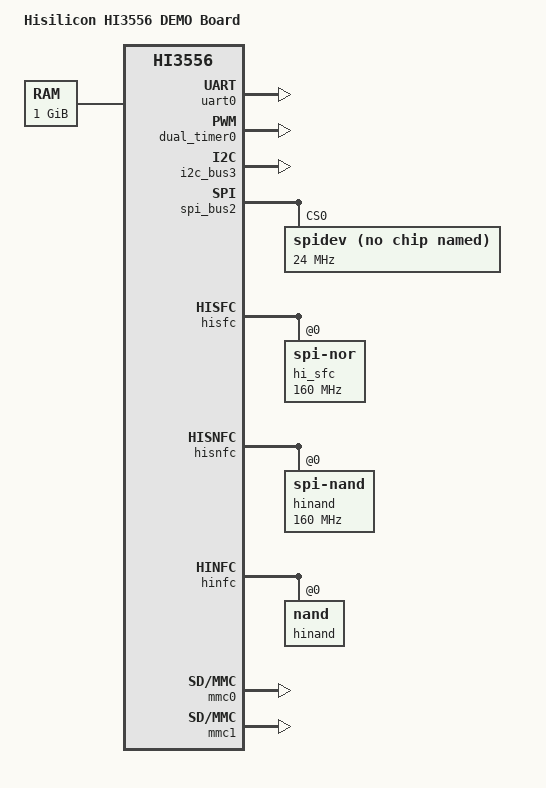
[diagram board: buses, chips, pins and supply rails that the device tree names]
/*
 * Copyright (c) 2013-2014 Linaro Ltd.
 * Copyright (c) 2015 HiSilicon Technologies Co., Ltd.
 *
 * This program is free software; you can redistribute  it and/or modify it
 * under  the terms of  the GNU General  Public License as published by the
 * Free Software Foundation;  either version 2 of the  License, or (at your
 * option) any later version.
 *
 * This program is distributed in the hope that it will be useful,
 * but WITHOUT ANY WARRANTY; without even the implied warranty of
 * MERCHANTABILITY or FITNESS FOR A PARTICULAR PURPOSE. See the
 * GNU General Public License for more details.
 *
 * You should have received a copy of the GNU General Public License
 * along with this program.  If not, see <http://www.gnu.org/licenses/>.
 *
 */

/dts-v1/;
#include "hisi-hi3556.dtsi"

/ {
	model = "Hisilicon HI3556 DEMO Board";
	compatible = "hisilicon,hi3556";

	cpus {
		#address-cells = <1>;
		#size-cells = <0>;
		enable-method = "hisilicon,hi3556-smp";

		cpu@0 {
			compatible = "arm,cortex-a7";
			device_type = "cpu";
			clock-frequency = <HI3556_FIXED_792M>;
			reg = <0>;
			cci-control-port = <&cci_control0>;
		};

		/*cpu@100 {
			compatible = "arm,cortex-a17";
			device_type = "cpu";
			clock-frequency = <HI3556_FIXED_1000M>;
			reg = <0x100>;
			cci-control-port = <&cci_control1>;
		};*/
	};

	memory {
		device_type = "memory";
		reg = <0x80000000 0x40000000>;
	};
};

&uart0 {
	status = "okay";
};

&dual_timer0 {
	status = "okay";
};

&i2c_bus0 {
	status = "disabled";
};

&i2c_bus1 {
	status = "disabled";
};

&i2c_bus2 {
	status = "disabled";
};

&i2c_bus3 {
	status = "okay";
};

&spi_bus0 {
	status = "disabled";

	spidev@0 {
		compatible = "rohm,dh2228fv";
		reg = <0>;
		pl022,interface = <0>;
		pl022,com_mode = <0>;
		spi-max-frequency = <24000000>;
	};

};

&spi_bus1 {
	status = "disabled";

	spidev@0 {
		compatible = "rohm,dh2228fv";
		reg = <0>;
		pl022,interface = <0>;
		pl022,com_mode = <0>;
		spi-max-frequency = <24000000>;
	};

	spidev@1 {
		compatible = "rohm,dh2228fv";
		reg = <1>;
		pl022,interface = <0>;
		pl022,com_mode = <0>;
		spi-max-frequency = <24000000>;
	};
};

&spi_bus2 {
	status = "okay";

	spidev@0 {
		compatible = "rohm,dh2228fv";
		reg = <0>;
		pl022,interface = <0>;
		pl022,com_mode = <0>;
		spi-max-frequency = <24000000>;
	};
};

&spi_bus3 {
	status = "disabled";

	spidev@0 {
		compatible = "rohm,dh2228fv";
		reg = <0>;
		pl022,interface = <0>;
		pl022,com_mode = <0>;
		spi-max-frequency = <24000000>;
	};
};

&hisfc {
	hi_sfc {
		compatible = "jedec,spi-nor";
		reg = <0>;
		spi-max-frequency = <160000000>;
		m25p,fast-read;
	};

};

&hisnfc {
	hinand {
		compatible = "jedec,spi-nand";
		reg = <0>;
		spi-max-frequency = <160000000>;
	};
};

&hinfc {
	hinand {
		compatible = "jedec,nand";
		reg = <0>;
		nand-max-frequency = <200000000>;
	};
};

&mmc0 {
	status = "okay";
};

&mmc1 {
	status = "okay";
};

&mmc2 {
	status = "disabled";
};

&gpio_chip0 {
	status = "disabled";
};

&gpio_chip1 {
	status = "disabled";
};

&gpio_chip2 {
	status = "disabled";
};

&gpio_chip3 {
	status = "disabled";
};

&gpio_chip4 {
	status = "disabled";
};

&gpio_chip5 {
	status = "disabled";
};

&gpio_chip6 {
	status = "disabled";
};

&gpio_chip7 {
	status = "disabled";
};

&gpio_chip8 {
	status = "disabled";
};

&gpio_chip9 {
	status = "disabled";
};

&gpio_chip10 {
	status = "disabled";
};

&gpio_chip11 {
	status = "disabled";
};

&gpio_chip12 {
	status = "disabled";
};

&gpio_chip13 {
	status = "disabled";
};

&gpio_chip14 {
	status = "disabled";
};

&gpio_chip16 {
	status = "disabled";
};
